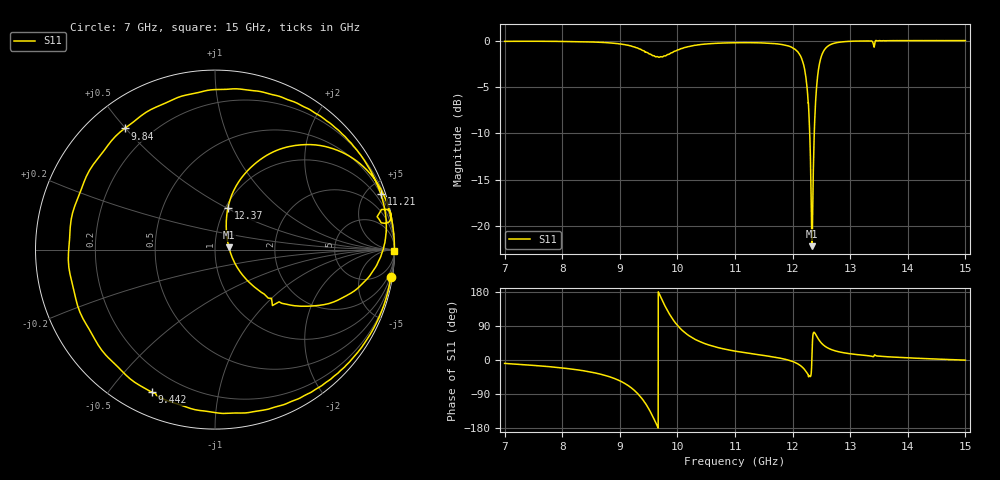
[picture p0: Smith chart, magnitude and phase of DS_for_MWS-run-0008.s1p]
! TOUCHSTONE file generated by CST DESIGN STUDIO
! Date and time: Mon Feb 10 16:49:06 2025
! Project name: C:\Work\MatlabApps\UnitCellType2OptimizationMatlab\CST\unitcell.cst
! Tree item: Tasks\Sweep1\SPara1\S-Parameters
! Header version: 2024
! Port assignment regex: !\s*Touchstone port\s*([0-9]+)\s*=\s*(CST MWS port|CST DES external port|CST DES block port)\s*(.+)\s* \(\"(.*)\"\)(\s*mode\s*([0-9]+))?.*
! Touchstone port assignment:
! Touchstone port 1 = CST DES external port 1 ("")
# GHz S MA R 50
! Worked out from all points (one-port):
!   4001 points, 7 GHz to 15 GHz, reference 50 ohm
!   lowest |S11| = -22.1 dB at 12.34 GHz (marker M1), VSWR 1.17, Z = 58.3 + j1.52 ohm
!   |S11| at or under -10 dB: 12.3 GHz to 12.38 GHz (79.05 MHz wide, 0.641 % of centre)
!   S11 on the Smith chart (normalised r, x): 7 GHz: 1, -13; 9.442 GHz: 0.10, -0.65; 9.84 GHz: 0.11, +0.50; 11.21 GHz: 0.51, +6.13; 12.37 GHz: 1.03, +0.51; 15 GHz: open
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7  0.9902 -9.0
8  0.9892 -21.0
8.624  0.9794 -35.9
9  0.9592 -54.9
9.222  0.9283 -76.0
9.442  0.8696 -113.9
9.544  0.8404 -140.8
9.65  0.82 -173.9
9.736  0.8159 157.8
9.84  0.8419 126.7
10  0.8904 91.4
10.17  0.9258 67.5
10.38  0.9492 49.2
11  0.9732 23.4
11.206  0.9742 18.4
12  0.9145 -3.9
12.13  0.8339 -14.0
12.222  0.6619 -27.9
12.282  0.4108 -41.8
12.312  0.214 -42.9
12.336  0.0783 9.5
12.366  0.2424 72.8
12.416  0.5603 63.4
12.496  0.8169 45.4
12.664  0.9534 28.0
13  0.9909 16.5
14  0.9988 5.7
15  0.9995 -0.3
